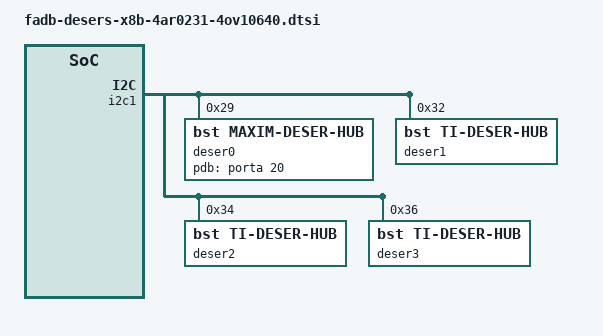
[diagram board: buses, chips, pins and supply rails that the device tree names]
&i2c1 {
    #address-cells = <1>;
    #size-cells = <0>;

    deser0: max96712@29 {
        compatible = "bst,maxim-deser-hub";
        type = "max96712";
        ctl-mode = "fad-lis";
        reg = <0x29>;
        i2c-port = <0>;
        csi2-port = <0>;
        lane-speed = <1600>;
        regs = <0x40>;
        data-type = <0x2d>;
        trigger-mode = <0>;                /*0:default,1:internal,2:external*/
        trigger-fps = <30>;
        trigger-rx-gpio = <1>;             /*MFP2*/
        maxim,hsync-invert = <0>;
        maxim,vsync-invert = <0>;
        maxim,linkrx-rate = <6 6 6 6>;      /*linka gpbs,linkb gpbs,linkc gpbs,linkd gpbs*/
        maxim,link-mode = "GMSL2";
        pdb-gpio = <&porta 20 0>;
    };

    deser1: ti960@32 {
        compatible = "bst,ti-deser-hub";
        type = "ti960";
        ctl-mode = "fad-lis";
        reg = <0x32>;
        i2c-port = <0>;
        csi2-port = <1>;
        lane-speed = <1600>;
    };

    deser2: ti960@34 {
        compatible = "bst,ti-deser-hub";
        type = "ti960";
        ctl-mode = "fad-lis";
        reg = <0x34>;
        i2c-port = <0>;
        csi2-port = <1>;
        lane-speed = <1600>;
    };

    deser3: ti960@36 {
        compatible = "bst,ti-deser-hub";
        type = "ti960";
        ctl-mode = "fad-lis";
        reg = <0x36>;
        i2c-port = <0>;
        csi2-port = <1>;
        lane-speed = <1600>;
    };
};

#include "../common/a1000b-deser.dtsi"
